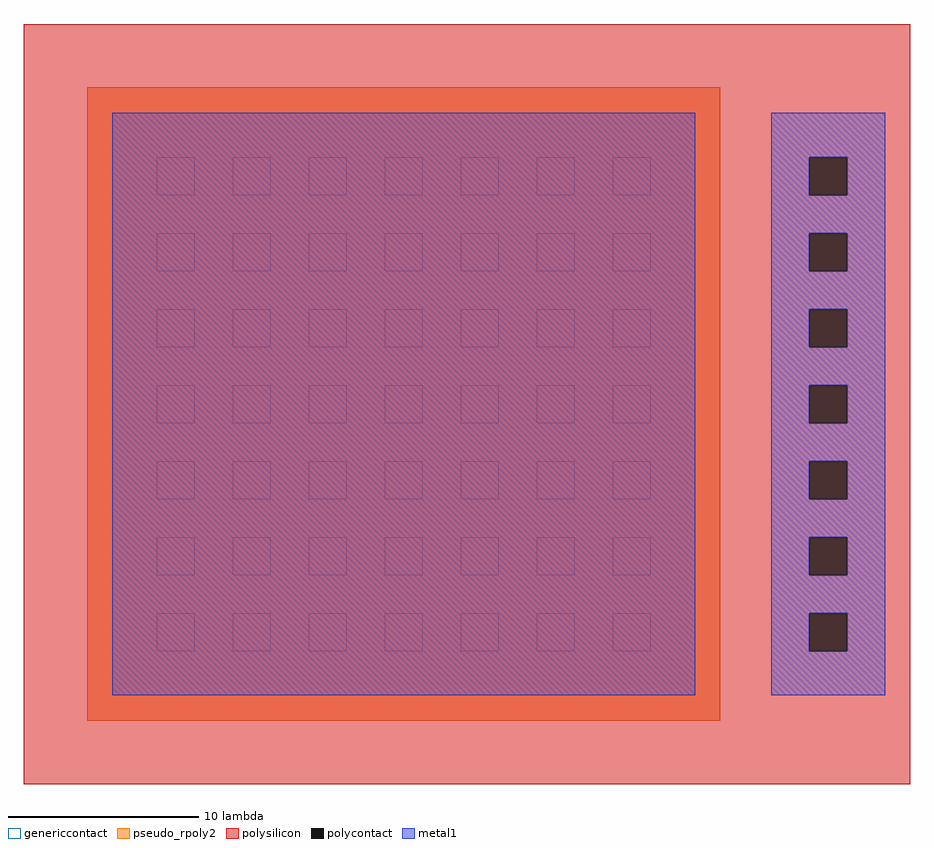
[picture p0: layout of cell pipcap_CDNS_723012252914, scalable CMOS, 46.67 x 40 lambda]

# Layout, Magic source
magic
tech scmos
magscale 1 3
<< polysilicon >>
rect 2 2 142 122
<< pseudo_rpoly2 >>
rect 12 12 112 112
use poly1cont_CDNS_723012252915  poly1cont_CDNS_723012252915_0
transform 1 0 120 0 1 16
box 0 0 18 92
use poly2cont_CDNS_723012252916  poly2cont_CDNS_723012252916_0
transform 1 0 16 0 1 16
box 0 0 92 92
<< end >>

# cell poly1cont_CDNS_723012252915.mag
magic
tech scmos
magscale 1 3
<< polysilicon >>
rect 1 85 17 91
rect 1 79 6 85
rect 12 79 17 85
rect 1 73 17 79
rect 1 67 6 73
rect 12 67 17 73
rect 1 61 17 67
rect 1 55 6 61
rect 12 55 17 61
rect 1 49 17 55
rect 1 43 6 49
rect 12 43 17 49
rect 1 37 17 43
rect 1 31 6 37
rect 12 31 17 37
rect 1 25 17 31
rect 1 19 6 25
rect 12 19 17 25
rect 1 13 17 19
rect 1 7 6 13
rect 12 7 17 13
rect 1 1 17 7
<< polycontact >>
rect 6 79 12 85
rect 6 67 12 73
rect 6 55 12 61
rect 6 43 12 49
rect 6 31 12 37
rect 6 19 12 25
rect 6 7 12 13
<< metal1 >>
rect 0 85 18 92
rect 0 79 6 85
rect 12 79 18 85
rect 0 73 18 79
rect 0 67 6 73
rect 12 67 18 73
rect 0 61 18 67
rect 0 55 6 61
rect 12 55 18 61
rect 0 49 18 55
rect 0 43 6 49
rect 12 43 18 49
rect 0 37 18 43
rect 0 31 6 37
rect 12 31 18 37
rect 0 25 18 31
rect 0 19 6 25
rect 12 19 18 25
rect 0 13 18 19
rect 0 7 6 13
rect 12 7 18 13
rect 0 0 18 7
<< end >>

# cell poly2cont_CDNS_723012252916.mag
magic
tech scmos
magscale 1 3
<< genericcontact >>
rect 7 79 13 85
rect 19 79 25 85
rect 31 79 37 85
rect 43 79 49 85
rect 55 79 61 85
rect 67 79 73 85
rect 79 79 85 85
rect 7 67 13 73
rect 19 67 25 73
rect 31 67 37 73
rect 43 67 49 73
rect 55 67 61 73
rect 67 67 73 73
rect 79 67 85 73
rect 7 55 13 61
rect 19 55 25 61
rect 31 55 37 61
rect 43 55 49 61
rect 55 55 61 61
rect 67 55 73 61
rect 79 55 85 61
rect 7 43 13 49
rect 19 43 25 49
rect 31 43 37 49
rect 43 43 49 49
rect 55 43 61 49
rect 67 43 73 49
rect 79 43 85 49
rect 7 31 13 37
rect 19 31 25 37
rect 31 31 37 37
rect 43 31 49 37
rect 55 31 61 37
rect 67 31 73 37
rect 79 31 85 37
rect 7 19 13 25
rect 19 19 25 25
rect 31 19 37 25
rect 43 19 49 25
rect 55 19 61 25
rect 67 19 73 25
rect 79 19 85 25
rect 7 7 13 13
rect 19 7 25 13
rect 31 7 37 13
rect 43 7 49 13
rect 55 7 61 13
rect 67 7 73 13
rect 79 7 85 13
<< metal1 >>
rect 0 0 92 92
<< pseudo_rpoly2 >>
rect 1 1 91 91
<< end >>
